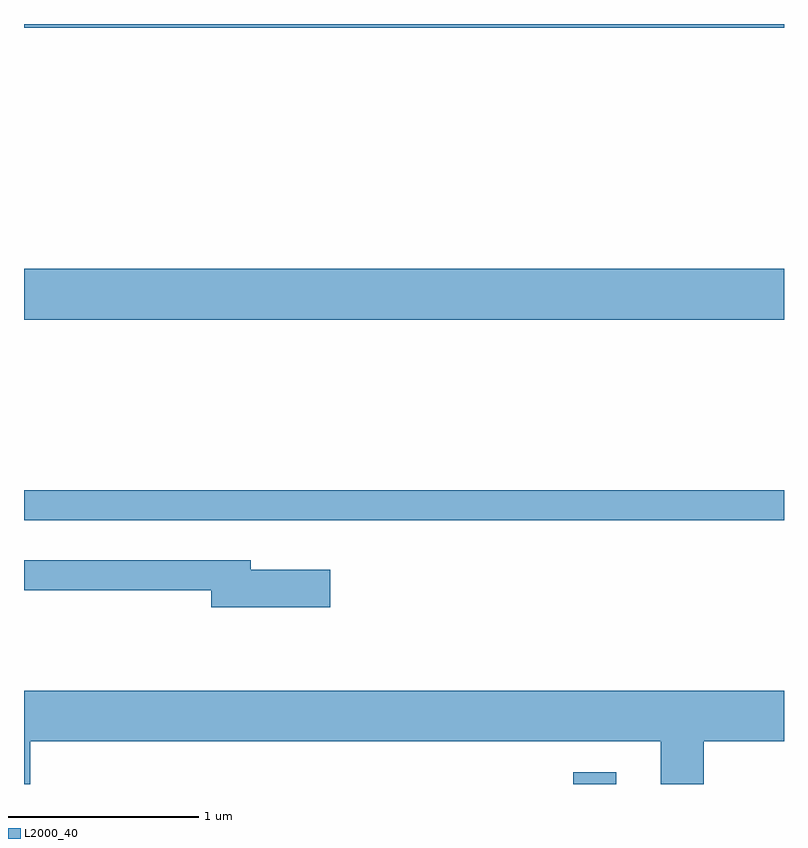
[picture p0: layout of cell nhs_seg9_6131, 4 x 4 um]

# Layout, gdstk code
import gdstk
lib = gdstk.Library(unit=1e-6, precision=1e-09)
def R(c, l, rs):  # rectangles x0, y0, x1, y1
    for r in rs: c.add(gdstk.rectangle(r[:2], r[2:], *l))
def P(c, l, *ps):  # polygons
    for p in ps: c.add(gdstk.Polygon(p, *l))
L2000_40 = (2000, 40)

nhs_seg9_6131 = lib.new_cell('nhs_seg9_6131')
R(nhs_seg9_6131, L2000_40, [(368.501,2040.432,368.729,2040.494), (365.611,2041.821,369.611,2041.979), (365.611,2042.876,369.611,2043.144), (365.611,2044.411,369.611,2044.432)])
P(nhs_seg9_6131, L2000_40, [(367.224,2041.559),(366.804,2041.559),(366.804,2041.609),(365.611,2041.609),(365.611,2041.451),(366.596,2041.451),(366.596,2041.361),(367.224,2041.361)],
  [(365.644,2040.656),(368.961,2040.656),(368.961,2040.432),(369.189,2040.432),(369.189,2040.656),(369.611,2040.656),(369.611,2040.924),(365.611,2040.924),(365.611,2040.432),(365.644,2040.432)])

lib.write_gds('nhs_seg9_6131.gds')
